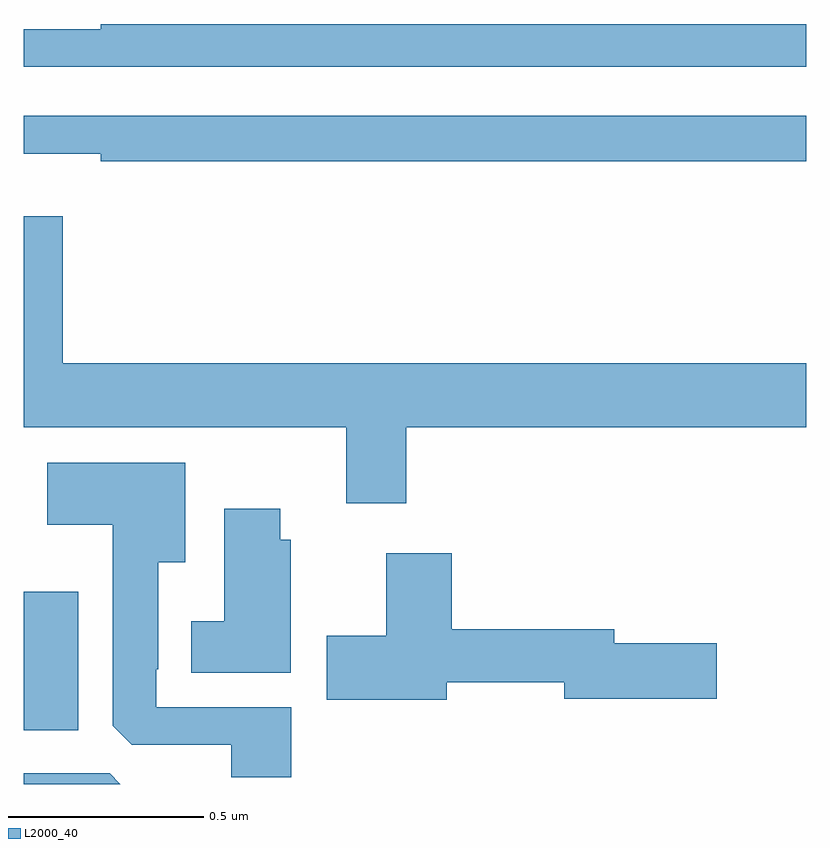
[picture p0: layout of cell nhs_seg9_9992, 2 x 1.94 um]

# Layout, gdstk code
import gdstk
lib = gdstk.Library(unit=1e-6, precision=1e-09)
def R(c, l, rs):  # rectangles x0, y0, x1, y1
    for r in rs: c.add(gdstk.rectangle(r[:2], r[2:], *l))
def P(c, l, *ps):  # polygons
    for p in ps: c.add(gdstk.Polygon(p, *l))
L2000_40 = (2000, 40)

nhs_seg9_9992 = lib.new_cell('nhs_seg9_9992')
R(nhs_seg9_9992, L2000_40, [(237,1203.638,237.139,1203.991)])
P(nhs_seg9_9992, L2000_40, [(239,1205.443),(237.196,1205.443),(237.196,1205.43),(237,1205.43),(237,1205.334),(239,1205.334)],
  [(239,1205.208),(237,1205.208),(237,1205.111),(237.196,1205.111),(237.196,1205.092),(239,1205.092)],
  [(237.977,1204.412),(239,1204.412),(239,1204.576),(237.1,1204.576),(237.1,1204.951),(237,1204.951),(237,1204.412),(237.824,1204.412),(237.824,1204.218),(237.977,1204.218)],
  [(237.683,1203.696),(237.339,1203.696),(237.339,1203.793),(237.343,1203.793),(237.343,1204.067),(237.412,1204.067),(237.412,1204.321),(237.06,1204.321),(237.06,1204.163),(237.227,1204.163),(237.227,1203.649),(237.276,1203.6),(237.53,1203.6),(237.53,1203.517),(237.683,1203.517)],
  [(237.682,1204.125),(237.655,1204.125),(237.655,1204.204),(237.512,1204.204),(237.512,1203.916),(237.428,1203.916),(237.428,1203.785),(237.682,1203.785)],
  [(238.081,1203.76),(238.382,1203.76),(238.382,1203.718),(238.771,1203.718),(238.771,1203.86),(238.51,1203.86),(238.51,1203.896),(238.094,1203.896),(238.094,1204.09),(237.926,1204.09),(237.926,1203.879),(237.774,1203.879),(237.774,1203.716),(238.081,1203.716)],
  [(237.219,1203.528),(237,1203.528),(237,1203.5),(237.247,1203.5)])

lib.write_gds('nhs_seg9_9992.gds')
